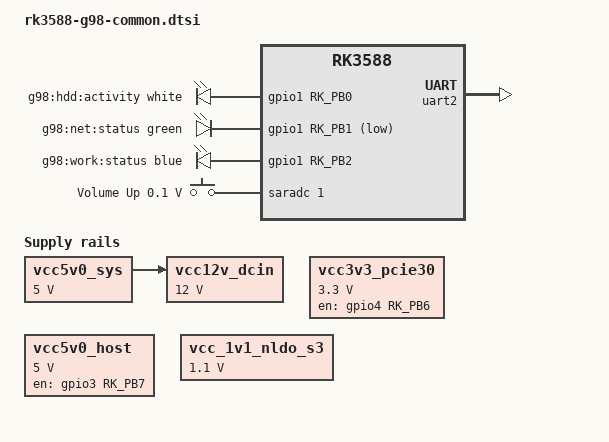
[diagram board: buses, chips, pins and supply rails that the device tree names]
// SPDX-License-Identifier: (GPL-2.0+ OR MIT)
/*
 * Copyright (c) 2026 stevenliuit
 *
 * Rockchip RK3588 G98 NVR Board — common DTS include.
 *
 * Board identification:
 *   model     : "Rockchip RK3588 G98 NVR Board (LP4 SPI NOR)"
 *   compatible: "rockchip,rk3588-g98", "rockchip,rk3588"
 *
 * Hardware topology (verified against live probe @192.168.168.1:2222):
 *   - SoC    : Rockchip RK3588S (4× Cortex-A76 + 4× Cortex-A55, Mali-G610, NPU)
 *   - DRAM   : 4/8/16 GiB LPDDR4/LPDDR5
 *   - Storage: SPI-NOR 32 MiB (MX25L25673G); eMMC; SD card
 *   - GMAC0  : 0xfe1c0000 (alias ethernet0), RGMII_ID, on-SoC PHY none
 *              → YT9215S #0 SGMII → LAN ports 1..4
 *   - GMAC1  : 0xfe1b0000 (alias ethernet1), RGMII_ID
 *              → YT9215S #1 SGMII → LAN ports 5..8
 *   - PCIe 2L : 0x0002:20 + 0x0002:21 = 2× RTL8125 2.5 GbE (eth0/eth1 userspace)
 *   - PCIe 3L : 0x0003:30 + 0x0003:31 = unused (reserved)
 *   - Console : UART2 @0xfeb5000  (earlycon=uart8250,mmio32,0xfeb50000)
 *
 * This dtsi is shared between rk3588-g98-spi-nor.dts (boot from SPI-NOR)
 * and rk3588-g98-emmc.dts (boot from eMMC); only the wrapper differs.
 */

/dts-v1/;
#include "dt-bindings/gpio/gpio.h"
#include "dt-bindings/pinctrl/rockchip.h"
#include "dt-bindings/soc/rockchip,boot-mode.h"

/ {
    /* ---- board-wide fixed regulators (always-on) ---- */
    vcc12v_dcin: regulator-vcc12v-dcin {
        compatible = "regulator-fixed";
        regulator-name = "vcc12v_dcin";
        regulator-min-microvolt = <12000000>;
        regulator-max-microvolt = <12000000>;
        regulator-always-on;
        regulator-boot-on;
        vin-supply = <&vcc5v0_sys>;
    };

    vcc5v0_sys: regulator-vcc5v0-sys {
        compatible = "regulator-fixed";
        regulator-name = "vcc5v0_sys";
        regulator-min-microvolt = <5000000>;
        regulator-max-microvolt = <5000000>;
        regulator-always-on;
        regulator-boot-on;
        /* GPIO-controlled enable later if wired; placeholder */
    };

    vcc3v3_pcie30: regulator-vcc3v3-pcie30 {
        compatible = "regulator-fixed";
        regulator-name = "vcc3v3_pcie30";
        regulator-min-microvolt = <3300000>;
        regulator-max-microvolt = <3300000>;
        enable-active-high;
        regulator-always-on;
        regulator-boot-on;
        gpios = <&gpio4 RK_PB6 GPIO_ACTIVE_HIGH>;
    };

    vcc5v0_host: regulator-vcc5v0-host {
        compatible = "regulator-fixed";
        regulator-name = "vcc5v0_host";
        regulator-min-microvolt = <5000000>;
        regulator-max-microvolt = <5000000>;
        enable-active-high;
        regulator-always-on;
        regulator-boot-on;
        gpios = <&gpio3 RK_PB7 GPIO_ACTIVE_HIGH>;
    };

    vcc_1v1_nldo_s3: regulator-vcc-1v1-nldo-s3 {
        compatible = "regulator-fixed";
        regulator-name = "vcc_1v1_nldo_s3";
        regulator-min-microvolt = <1100000>;
        regulator-max-microvolt = <1100000>;
        regulator-always-on;
        regulator-boot-on;
    };

    /* ---- board LEDs (GPIO) ---- */
    leds {
        compatible = "gpio-leds";

        hdd-led {
            label = "g98:hdd:activity";
            gpios = <&gpio1 RK_PB0 GPIO_ACTIVE_HIGH>;
            color = <LED_COLOR_ID_WHITE>;
            default-state = "off";
            linux,default-trigger = "disk-activity";
        };

        net-led {
            label = "g98:net:status";
            gpios = <&gpio1 RK_PB1 GPIO_ACTIVE_LOW>;
            color = <LED_COLOR_ID_GREEN>;
            default-state = "on";
            linux,default-trigger = "heartbeat";
        };

        work-led {
            label = "g98:work:status";
            gpios = <&gpio1 RK_PB2 GPIO_ACTIVE_HIGH>;
            color = <LED_COLOR_ID_BLUE>;
            default-state = "off";
            linux,default-trigger = "none";
        };
    };

    /* ---- ADC keys (vol-up button on SARADC ch1) ---- */
    adc-keys {
        compatible = "adc-keys";
        io-channels = <&saradc 1>;
        io-channel-names = "buttons";
        keyup-threshold-microvolt = <1800000>;
        poll-interval = <100>;

        vol-up-key {
            label = "Volume Up";
            linux,code = <KEY_VOLUMEUP>;
            press-threshold-microvolt = <100000>;
        };
    };

    /* ---- FIQ debugger on UART2 (console in early boot) ---- */
    fiq-debugger {
        compatible = "rockchip,fiq-debugger";
        rockchip,serial-id = <2>;
        rockchip,wake-irq = <0>;
        /* IRQ filled in board file */
        pinctrl-0 = <&uart2m0_xfer>;
        pinctrl-names = "default";
        status = "okay";
    };

    /* ----- PWM backlight ---- */
    pwm_bl: pwm-backlight {
        compatible = "pwm-backlight";
        pwms = <&pwm3 0 25000 0>;
        brightness-levels = <0 25 50 75 100>;
        default-brightness-level = <2>;
        enable-gpios = <&gpio4 RK_PC5 GPIO_ACTIVE_HIGH>;
        status = "disabled"; /* not populated on G98 */
    };
};

/* &uart2 consumed by fiq-debugger above (no separate node needed) */
&uart2 {
    status = "okay";
    pinctrl-0 = <&uart2m0_xfer>;
    pinctrl-names = "default";
};

&pwm3 {
    status = "disabled";
};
